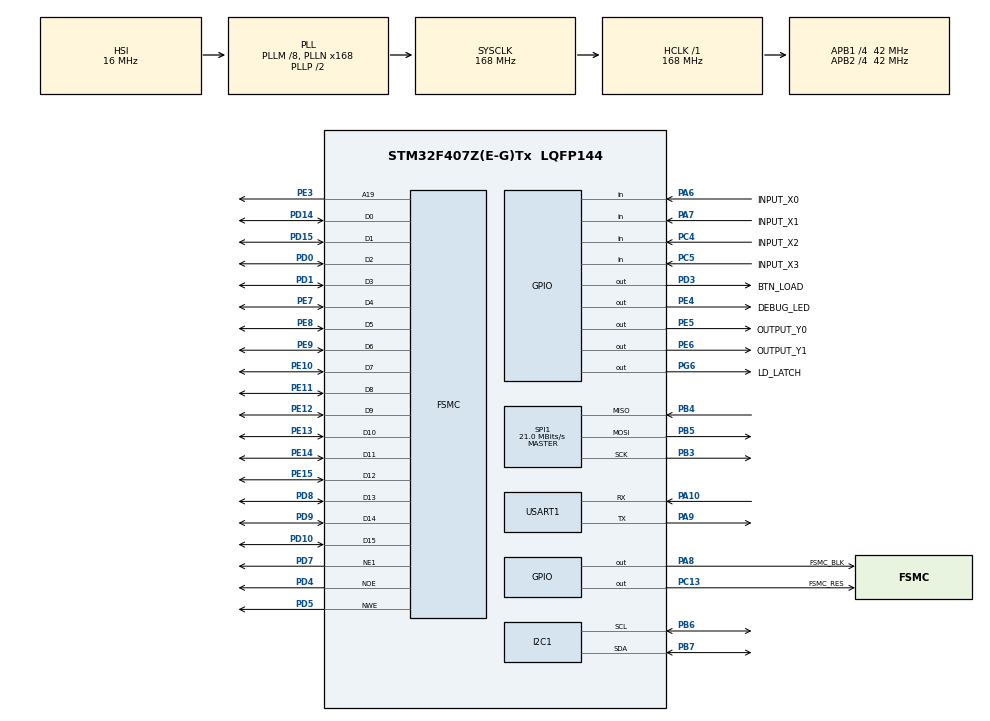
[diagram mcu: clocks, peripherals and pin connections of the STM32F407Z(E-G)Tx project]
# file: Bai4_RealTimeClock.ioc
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FSMC.AddressSetupTime1=0xf
FSMC.BusTurnAroundDuration1=0
FSMC.DataSetupTime1=60
FSMC.ExtendedAddressSetupTime1=8
FSMC.ExtendedBusTurnAroundDuration1=0
FSMC.ExtendedDataSetupTime1=9
FSMC.ExtendedMode1=FSMC_EXTENDED_MODE_ENABLE
I2C1.I2C_Mode=I2C_Standard
Mcu.Family=STM32F4
Mcu.Name=STM32F407Z(E-G)Tx
Mcu.Package=LQFP144
NVIC.PriorityGroup=NVIC_PRIORITYGROUP_4
NVIC.TIM2_IRQn=true\:0\:0\:false\:false\:true\:true\:true
NVIC.USART1_IRQn=true\:0\:0\:false\:false\:true\:true\:true
PA10.Mode=Asynchronous
PA10.Signal=USART1_RX
PA13.Mode=Serial_Wire
PA13.Signal=SYS_JTMS-SWDIO
PA14.Mode=Serial_Wire
PA14.Signal=SYS_JTCK-SWCLK
PA6.GPIO_Label=INPUT_X0
PA6.Signal=GPIO_Input
PA7.GPIO_Label=INPUT_X1
PA7.Signal=GPIO_Input
PA8.GPIO_Label=FSMC_BLK
PA8.Signal=GPIO_Output
PA9.Mode=Asynchronous
PA9.Signal=USART1_TX
PB3.Mode=Full_Duplex_Master
PB3.Signal=SPI1_SCK
PB4.Mode=Full_Duplex_Master
PB4.Signal=SPI1_MISO
PB5.Mode=Full_Duplex_Master
PB5.Signal=SPI1_MOSI
PB6.Mode=I2C
PB6.Signal=I2C1_SCL
PB7.Mode=I2C
PB7.Signal=I2C1_SDA
PC13-ANTI_TAMP.GPIO_Label=FSMC_RES
PC13-ANTI_TAMP.Signal=GPIO_Output
PC4.GPIO_Label=INPUT_X2
PC4.Signal=GPIO_Input
PC5.GPIO_Label=INPUT_X3
PC5.Signal=GPIO_Input
PD0.Signal=FSMC_D2_DA2
PD1.Signal=FSMC_D3_DA3
PD10.Signal=FSMC_D15_DA15
PD14.Signal=FSMC_D0_DA0
PD15.Signal=FSMC_D1_DA1
PD3.GPIO_Label=BTN_LOAD
PD3.Signal=GPIO_Output
PD4.Signal=FSMC_NOE
PD5.Signal=FSMC_NWE
PD7.Mode=NorPsramChipSelect1_1
PD7.Signal=FSMC_NE1
PD8.Signal=FSMC_D13_DA13
PD9.Signal=FSMC_D14_DA14
PE10.Signal=FSMC_D7_DA7
PE11.Signal=FSMC_D8_DA8
PE12.Signal=FSMC_D9_DA9
PE13.Signal=FSMC_D10_DA10
PE14.Signal=FSMC_D11_DA11
PE15.Signal=FSMC_D12_DA12
PE3.Signal=FSMC_A19
PE4.GPIO_Label=DEBUG_LED
PE4.Signal=GPIO_Output
PE5.GPIO_Label=OUTPUT_Y0
PE5.Signal=GPIO_Output
PE6.GPIO_Label=OUTPUT_Y1
PE6.Signal=GPIO_Output
PE7.Signal=FSMC_D4_DA4
PE8.Signal=FSMC_D5_DA5
PE9.Signal=FSMC_D6_DA6
PG6.GPIO_Label=LD_LATCH
PG6.Signal=GPIO_Output
PH0-OSC_IN.Mode=HSE-External-Oscillator
PH0-OSC_IN.Signal=RCC_OSC_IN
PH1-OSC_OUT.Mode=HSE-External-Oscillator
PH1-OSC_OUT.Signal=RCC_OSC_OUT
ProjectManager.HeapSize=0x200
ProjectManager.StackSize=0x400
ProjectManager.TargetToolchain=STM32CubeIDE
RCC.48MHZClocksFreq_Value=84000000
RCC.AHBFreq_Value=168000000
RCC.APB1CLKDivider=RCC_HCLK_DIV4
RCC.APB1Freq_Value=42000000
RCC.APB1TimFreq_Value=84000000
RCC.APB2CLKDivider=RCC_HCLK_DIV4
RCC.APB2Freq_Value=42000000
RCC.APB2TimFreq_Value=84000000
RCC.CortexFreq_Value=168000000
RCC.HCLKFreq_Value=168000000
RCC.HSE_VALUE=8000000
RCC.HSI_VALUE=16000000
RCC.LSE_VALUE=32768
RCC.PLLM=8
RCC.PLLN=168
RCC.SYSCLKFreq_VALUE=168000000
RCC.SYSCLKSource=RCC_SYSCLKSOURCE_PLLCLK
RCC.VCOOutputFreq_Value=336000000
SH.FSMC_A19.0=FSMC_A19,A19_1
SH.FSMC_D0_DA0.0=FSMC_D0,16b-d1
SH.FSMC_D10_DA10.0=FSMC_D10,16b-d1
SH.FSMC_D11_DA11.0=FSMC_D11,16b-d1
SH.FSMC_D12_DA12.0=FSMC_D12,16b-d1
SH.FSMC_D13_DA13.0=FSMC_D13,16b-d1
SH.FSMC_D14_DA14.0=FSMC_D14,16b-d1
SH.FSMC_D15_DA15.0=FSMC_D15,16b-d1
SH.FSMC_D1_DA1.0=FSMC_D1,16b-d1
SH.FSMC_D2_DA2.0=FSMC_D2,16b-d1
SH.FSMC_D3_DA3.0=FSMC_D3,16b-d1
SH.FSMC_D4_DA4.0=FSMC_D4,16b-d1
SH.FSMC_D5_DA5.0=FSMC_D5,16b-d1
SH.FSMC_D6_DA6.0=FSMC_D6,16b-d1
SH.FSMC_D7_DA7.0=FSMC_D7,16b-d1
SH.FSMC_D8_DA8.0=FSMC_D8,16b-d1
SH.FSMC_D9_DA9.0=FSMC_D9,16b-d1
SH.FSMC_NOE.0=FSMC_NOE,Lcd1
SH.FSMC_NWE.0=FSMC_NWE,Lcd1
SPI1.BaudRatePrescaler=SPI_BAUDRATEPRESCALER_2
SPI1.CalculateBaudRate=21.0 MBits/s
SPI1.Direction=SPI_DIRECTION_2LINES
SPI1.Mode=SPI_MODE_MASTER
SPI1.VirtualType=VM_MASTER
TIM2.Period=100-1
TIM2.Prescaler=840-1
USART1.VirtualMode=VM_ASYNC
VP_TIM2_VS_ClockSourceINT.Mode=Internal
board=custom

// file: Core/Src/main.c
/* USER CODE BEGIN Header */
/**
  ******************************************************************************
  * @file           : main.c
  * @brief          : Main program body
  ******************************************************************************
  * @attention
  *
  * <h2><center>&copy; Copyright (c) 2024 STMicroelectronics.
  * All rights reserved.</center></h2>
  *
  * This software component is licensed by ST under BSD 3-Clause license,
  * the "License"; You may not use this file except in compliance with the
  * License. You may obtain a copy of the License at:
  *                        opensource.org/licenses/BSD-3-Clause
  *
  ******************************************************************************
  */
/* USER CODE END Header */
#include "main.h"
#include "i2c.h"
#include "spi.h"
#include "tim.h"
#include "usart.h"
#include "uart.h"
#include "gpio.h"
#include "fsmc.h"
#include "software_timer.h"
#include "lcd.h"
#include "button.h"
#include "picture.h"
#include "led_7seg.h"
#include "ds3231.h"

void SystemClock_Config(void);
/* USER CODE BEGIN PFP */
void system_init();
void test_uart();
/* USER CODE END PFP */

/* USER CODE BEGIN 0 */
#define WATCH_TIME 0
#define SET_TIME 1
#define SET_ALARM 2
int mode = 0;
int toggle_blink = 0;
int count_toggle_blink = 0;
int set_mode = 0;
int temp_hour = 0;
int temp_min = 0;
int temp_sec = 0;
int temp_date = 0;
int temp_month = 0;
int temp_year = 0;
int alarm_hour = 0;
int alarm_min = 0;
int alarm_sec = 0;
int alarm_date = 0;
int alarm_month = 0;
int alarm_year = 0;
void update_set_time();
void update_set_alarm();
void updateTime();
void display_clock();
void set_time();
void my_clock();
void normal_clock();

/* USER CODE END 0 */

int main(void)
{

  /* MCU Configuration--------------------------------------------------------*/

  /* Reset of all peripherals, Initializes the Flash interface and the Systick. */
  HAL_Init();

  /* Configure the system clock */
  SystemClock_Config();

  /* Initialize all configured peripherals */
  MX_GPIO_Init();
  MX_TIM2_Init();
  MX_SPI1_Init();
  MX_FSMC_Init();
  MX_I2C1_Init();
  MX_USART1_UART_Init();
  /* USER CODE BEGIN 2 */
  system_init();
  /* USER CODE END 2 */

  /* Infinite loop */
  /* USER CODE BEGIN WHILE */
  lcd_Clear(WHITE);
  updateTime();
  while (1)
  {
    /* USER CODE END WHILE */
    while(!flag_timer2);
	flag_timer2 = 0;
    count_toggle_blink++;
    if (count_toggle_blink > 10) {
      count_toggle_blink = 0;
      toggle_blink = 1 - toggle_blink;
    }
    button_Scan();
    ds3231_ReadTime();
    my_clock();
  }
}

void SystemClock_Config(void)
{
  RCC_OscInitTypeDef RCC_OscInitStruct = {0};
  RCC_ClkInitTypeDef RCC_ClkInitStruct = {0};

  /** Configure the main internal regulator output voltage
  */
  __HAL_RCC_PWR_CLK_ENABLE();
  __HAL_PWR_VOLTAGESCALING_CONFIG(PWR_REGULATOR_VOLTAGE_SCALE1);
  /** Initializes the RCC Oscillators according to the specified parameters
  * in the RCC_OscInitTypeDef structure.
  */
  RCC_OscInitStruct.OscillatorType = RCC_OSCILLATORTYPE_HSI;
  RCC_OscInitStruct.HSIState = RCC_HSI_ON;
  RCC_OscInitStruct.HSICalibrationValue = RCC_HSICALIBRATION_DEFAULT;
  RCC_OscInitStruct.PLL.PLLState = RCC_PLL_ON;
  RCC_OscInitStruct.PLL.PLLSource = RCC_PLLSOURCE_HSI;
  RCC_OscInitStruct.PLL.PLLM = 8;
  RCC_OscInitStruct.PLL.PLLN = 168;
  RCC_OscInitStruct.PLL.PLLP = RCC_PLLP_DIV2;
  RCC_OscInitStruct.PLL.PLLQ = 4;
  if (HAL_RCC_OscConfig(&RCC_OscInitStruct) != HAL_OK)
  {
    Error_Handler();
  }
  /** Initializes the CPU, AHB and APB buses clocks
  */
  RCC_ClkInitStruct.ClockType = RCC_CLOCKTYPE_HCLK|RCC_CLOCKTYPE_SYSCLK
                              |RCC_CLOCKTYPE_PCLK1|RCC_CLOCKTYPE_PCLK2;
  RCC_ClkInitStruct.SYSCLKSource = RCC_SYSCLKSOURCE_PLLCLK;
  RCC_ClkInitStruct.AHBCLKDivider = RCC_SYSCLK_DIV1;
  RCC_ClkInitStruct.APB1CLKDivider = RCC_HCLK_DIV4;
  RCC_ClkInitStruct.APB2CLKDivider = RCC_HCLK_DIV4;

  if (HAL_RCC_ClockConfig(&RCC_ClkInitStruct, FLASH_LATENCY_5) != HAL_OK)
  {
    Error_Handler();
  }
}

/* USER CODE BEGIN 4 */
void system_init() {
  timer_init();
  led7_init();
  button_init();
  lcd_init();
  uart_init_rs232();
  ds3231_init();
  setTimer2(50);
}

void normal_clock() {
  static int count = 0;
  if (count == 20) {
    lcd_Clear(WHITE);
    count = 0;
    ds3231_sec = (ds3231_sec < 59) ? ds3231_sec + 1 : 0;
    if (ds3231_sec == 0) {
      ds3231_min = (ds3231_min < 59) ? ds3231_min + 1 : 0;
      if (ds3231_min == 0) {
        ds3231_hours = (ds3231_hours < 23) ? ds3231_hours + 1 : 0;
        if (ds3231_hours == 0) {
          ds3231_day = (ds3231_day < 7) ? ds3231_day + 1 : 0;
          if (ds3231_day == 0) {
            ds3231_date = (ds3231_date < 31) ? ds3231_date + 1 : 0;
            if (ds3231_date == 0) {
              ds3231_month = (ds3231_month < 12) ? ds3231_month + 1 : 0;
              if (ds3231_month == 0) {
                ds3231_year = (ds3231_year < 99) ? ds3231_year + 1 : 0;
              }
            }
          }
        }
      }
    }
    temp_sec = ds3231_sec;
      temp_min = ds3231_min;
      temp_hour = ds3231_hours;
      temp_date = ds3231_date;
      temp_month = ds3231_month;
      temp_year = ds3231_year;
  }

  count++;
}

void updateTime() {
  ds3231_Write(ADDRESS_YEAR, 24);
  ds3231_Write(ADDRESS_MONTH, 11);
  ds3231_Write(ADDRESS_DATE, 20);
  ds3231_Write(ADDRESS_DAY, 6);
  ds3231_Write(ADDRESS_HOUR, 12);
  ds3231_Write(ADDRESS_MIN, 7);
  ds3231_Write(ADDRESS_SEC, 20);
}
void display_clock() {
  lcd_ShowIntNum(70, 100, ds3231_hours, 2, BLACK, WHITE, 24);
  lcd_ShowIntNum(110, 100, ds3231_min, 2, BLACK, WHITE, 24);
  lcd_ShowIntNum(150, 100, ds3231_sec, 2, BLACK, WHITE, 24);
  lcd_ShowIntNum(20, 130, ds3231_day, 2, YELLOW, BLACK, 24);
  lcd_ShowIntNum(70, 130, ds3231_date, 2, YELLOW, BLACK, 24);
  lcd_ShowIntNum(110, 130, ds3231_month, 2, YELLOW, BLACK, 24);
  lcd_ShowIntNum(150, 130, ds3231_year, 2, YELLOW, BLACK, 24);
}
void display_temp_clock() {
  lcd_ShowIntNum(70, 100, temp_hour, 2, BLACK, WHITE, 24);
  lcd_ShowIntNum(110, 100, temp_min, 2, BLACK, WHITE, 24);
  lcd_ShowIntNum(150, 100, temp_sec, 2, BLACK, WHITE, 24);
  lcd_ShowIntNum(20, 130, ds3231_day, 2, YELLOW, BLACK, 24);
  lcd_ShowIntNum(70, 130, temp_date, 2, YELLOW, BLACK, 24);
  lcd_ShowIntNum(110, 130, temp_month, 2, YELLOW, BLACK, 24);
  lcd_ShowIntNum(150, 130, temp_year, 2, YELLOW, BLACK, 24);
}
void update_set_time() {
  ds3231_Write(ADDRESS_YEAR, temp_year);
  ds3231_Write(ADDRESS_MONTH, temp_month);
  ds3231_Write(ADDRESS_DATE, temp_date);
  ds3231_Write(ADDRESS_DAY, temp_date);
  ds3231_Write(ADDRESS_HOUR, temp_hour);
  ds3231_Write(ADDRESS_MIN, temp_min);
  ds3231_Write(ADDRESS_SEC, temp_sec);
  ds3231_year = temp_year;
  ds3231_month = temp_month;
  ds3231_date = temp_date;
  ds3231_day = temp_date;
  ds3231_hours = temp_hour;
  ds3231_min = temp_min;
  ds3231_sec = temp_sec;
}
void update_set_alarm() {
  alarm_year = temp_year;
  alarm_month = temp_month;
  alarm_date = temp_date;
  alarm_hour = temp_hour;
  alarm_min = temp_min;
  alarm_sec = temp_sec;
}
void check_alarm() {
  if (ds3231_hours == alarm_hour && ds3231_min == alarm_min && ds3231_sec == alarm_sec) {
    lcd_DrawCircle(120, 60, RED, 10, 1);
  }
}
void set_time() {
  // use 2 button, 1 for increase, 1 for choose the field
  switch (set_mode) {
    case 0:
      if(toggle_blink) {
        lcd_ShowIntNum(150, 100, ds3231_sec, 2, BLACK, BLACK, 24);
      }
      if (button_count[3] == 1) {
        temp_sec = (temp_sec < 59) ? temp_sec + 1 : 0;
      }
      if (button_count[3] > 40 && button_count[3] % 4 == 0) {
        temp_sec = (temp_sec < 59) ? temp_sec + 1 : 0;
      }
      break;
    case 1:
      if(toggle_blink) {
        lcd_ShowIntNum(110, 100, ds3231_min, 2, BLACK, BLACK, 24);
      }
      if (button_count[3] == 1) {
        temp_min = (temp_min < 59) ? temp_min + 1 : 0;
      }
      if (button_count[3] > 40 && button_count[3] % 4 == 0) {
        temp_min = (temp_min < 59) ? temp_min + 1 : 0;
      }
      break;
    case 2:
      if(toggle_blink) {
        lcd_ShowIntNum(70, 100, ds3231_hours, 2, BLACK, BLACK, 24);
      }
      if (button_count[3] == 1) {
        temp_hour = (temp_hour < 23) ? temp_hour + 1 : 0;
      }
      if (button_count[3] > 40 && button_count[3] % 4 == 0) {
        temp_hour = (temp_hour < 23) ? temp_hour + 1 : 0;
      }
      break;
    case 3:
      if(toggle_blink) {
        lcd_ShowIntNum(150, 130, ds3231_year, 2, BLACK, BLACK, 24);
      }
      if (button_count[3] == 1) {
        temp_year = (temp_year < 99) ? temp_year + 1 : 0;
      }
      if (button_count[3] > 40 && button_count[3] % 4 == 0) {
        temp_year = (temp_year < 99) ? temp_year + 1 : 0;
      }
      break;
    case 4:
      if(toggle_blink) {
        lcd_ShowIntNum(110, 130, ds3231_month, 2, BLACK, BLACK, 24);
      }
      if (button_count[3] == 1) {
        temp_month = (temp_month < 12) ? temp_month + 1 : 0;
      }
      if (button_count[3] > 40 && button_count[3] % 4 == 0) {
        temp_month = (temp_month < 12) ? temp_month + 1 : 0;
      }
      break;
    case 5:
      if(toggle_blink) {
        lcd_ShowIntNum(70, 130, ds3231_date, 2, BLACK, BLACK, 24);
      }
      if (button_count[3] == 1) {
        temp_date = (temp_date < 31) ? temp_date + 1 : 0;
      }
      if (button_count[3] > 40 && button_count[3] % 4 == 0) {
        temp_date = (temp_date < 31) ? temp_date + 1 : 0;
      }
      break;
    case 6:
      if(toggle_blink) {
        lcd_ShowIntNum(20, 130, ds3231_day, 2, BLACK, BLACK, 24);
      }
      if (button_count[3] == 1) {
        temp_date = (temp_date < 7) ? temp_date + 1 : 0;
      }
      if (button_count[3] > 40 && button_count[3] % 4 == 0) {
        temp_date = (temp_date < 7) ? temp_date + 1 : 0;
      }
      break;
  }

}
void my_clock() {
	static int start = 0;
	if (start == 0) {
		temp_sec = ds3231_sec;
		  temp_min = ds3231_min;
		  temp_hour = ds3231_hours;
		  temp_date = ds3231_date;
		  temp_month = ds3231_month;
		  temp_year = ds3231_year;
		  alarm_hour = ds3231_hours;
		  alarm_min = ds3231_min;
		  alarm_sec = ds3231_sec;
		  alarm_date = ds3231_date;
		  alarm_month = ds3231_month;
		  alarm_year = ds3231_year;
		  start = 2;
	}
  if (button_count[0] == 1) {
    mode = (mode < 2) ? mode + 1 : 0;
  }
  if (button_count[1] == 1) {
    if (mode == SET_TIME) {
      update_set_time();
    } else if (mode == SET_ALARM) {
      update_set_alarm();
    }
    set_mode = (set_mode < 6) ? set_mode + 1 : 0;
    temp_hour = ds3231_hours;
    temp_min = ds3231_min;
    temp_sec = ds3231_sec;
    temp_date = ds3231_date;
    temp_month = ds3231_month;
    temp_year = ds3231_year;
  }
  switch (mode) {
    case WATCH_TIME:
      normal_clock();
      check_alarm();
      display_clock();
      lcd_ShowStr(20, 30, "NORMAL MODE", WHITE, RED, 24, 0);
      break;
    case SET_TIME:
      display_temp_clock();
      set_time();
      lcd_ShowStr(20, 30, "SET TIME MODE", WHITE, RED, 24, 0);
      break;
    case SET_ALARM:
      display_temp_clock();
      set_time();
      lcd_ShowStr(20, 30, "SET ALARM MODE", WHITE, RED, 24, 0);
      break;
  }
}

/* USER CODE END 4 */

void Error_Handler(void)
{
  __disable_irq();
  while (1)
  {
  }
}

/************************ (C) COPYRIGHT STMicroelectronics *****END OF FILE****/
